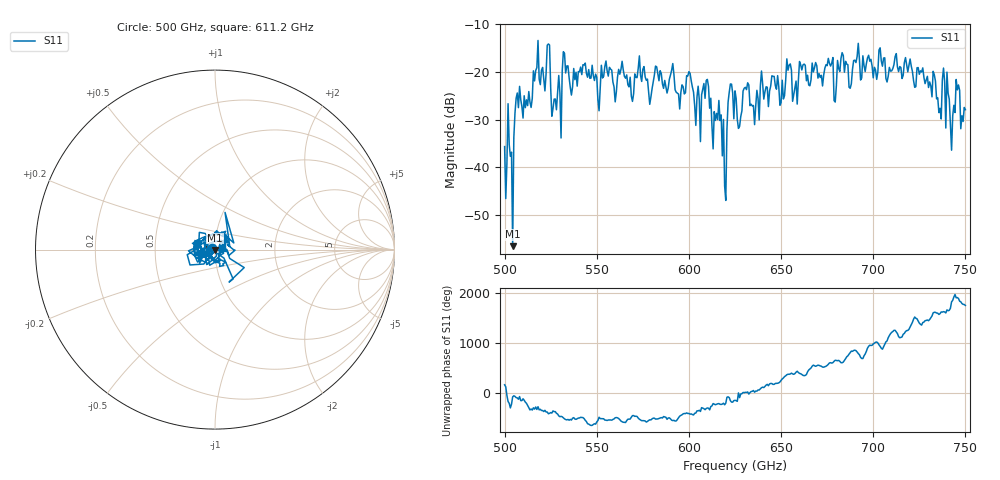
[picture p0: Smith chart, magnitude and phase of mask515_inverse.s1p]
!Created with skrf (http://scikit-rf.org).
# GHz S MA R 50.0
!freq magS11 angS11
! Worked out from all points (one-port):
!   401 points, 500 GHz to 750 GHz, reference 50 ohm
!   lowest |S11| = -56.6 dB at 504.4 GHz (marker M1), VSWR 1.00, Z = 50 - j0.148 ohm
!   |S11| at or under -10 dB: start of sweep to end of sweep
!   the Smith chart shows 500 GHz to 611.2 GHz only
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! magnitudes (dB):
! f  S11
! 500 GHz  -35.7
! 504.4 GHz  -56.6
! 506.9 GHz  -24.4
! 513.8 GHz  -26.3
! 516.9 GHz  -19.7
! 523.8 GHz  -14.1
! 526.9 GHz  -25.7
! 531.2 GHz  -19.9
! 562.5 GHz  -20.5
! 579.4 GHz  -25.2
! 590.6 GHz  -19.6
! 593.8 GHz  -24.4
! 600 GHz  -19.9
! 605 GHz  -23.0
! 609.4 GHz  -21.8
! 617.5 GHz  -29.0
! 619.4 GHz  -43.9
! 622.5 GHz  -22.5
! 625 GHz  -24.0
! 656.2 GHz  -26.2
! 687.5 GHz  -23.4
! 690.6 GHz  -18.0
! 718.8 GHz  -19.9
! 735.6 GHz  -28.5
! 738.8 GHz  -22.0
! 743.1 GHz  -29.2
! 745.6 GHz  -23.8
! 750 GHz  -27.9
